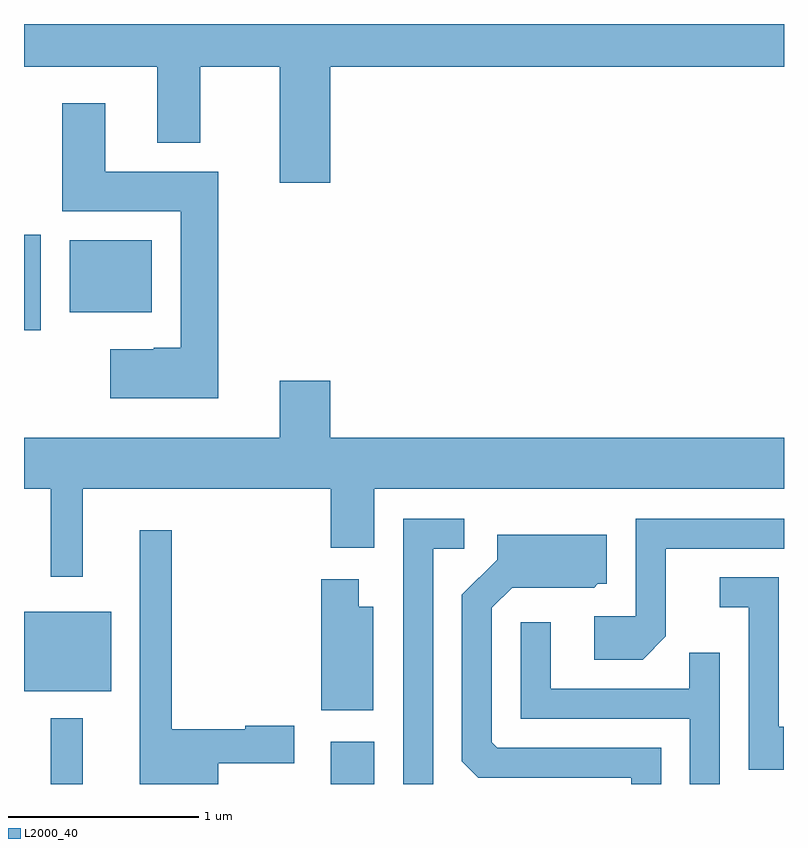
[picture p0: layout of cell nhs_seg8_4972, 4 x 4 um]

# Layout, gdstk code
import gdstk
lib = gdstk.Library(unit=1e-6, precision=1e-09)
def R(c, l, rs):  # rectangles x0, y0, x1, y1
    for r in rs: c.add(gdstk.rectangle(r[:2], r[2:], *l))
def P(c, l, *ps):  # polygons
    for p in ps: c.add(gdstk.Polygon(p, *l))
L2000_40 = (2000, 40)

nhs_seg8_4972 = lib.new_cell('nhs_seg8_4972')
R(nhs_seg8_4972, L2000_40, [(333.751,1910.342,333.919,1910.688), (335.226,1910.342,335.454,1910.564), (333.611,1910.831,334.069,1911.249), (333.611,1912.731,333.699,1913.234), (333.851,1912.826,334.284,1913.204)])
P(nhs_seg8_4972, L2000_40, [(335.224,1914.116),(337.611,1914.116),(337.611,1914.342),(333.611,1914.342),(333.611,1914.116),(334.311,1914.116),(334.311,1913.716),(334.539,1913.716),(334.539,1914.116),(334.956,1914.116),(334.956,1913.506),(335.224,1913.506)],
  [(334.634,1913.564),(334.039,1913.564),(334.039,1913.924),(333.811,1913.924),(333.811,1913.356),(334.436,1913.356),(334.436,1912.639),(334.295,1912.639),(334.295,1912.629),(334.066,1912.629),(334.066,1912.371),(334.634,1912.371)],
  [(333.919,1911.896),(335.226,1911.896),(335.226,1911.586),(335.454,1911.586),(335.454,1911.896),(337.611,1911.896),(337.611,1912.164),(335.224,1912.164),(335.224,1912.464),(334.956,1912.464),(334.956,1912.164),(333.611,1912.164),(333.611,1911.896),(333.751,1911.896),(333.751,1911.433),(333.919,1911.433)],
  [(336.989,1911.119),(336.989,1911.581),(337.611,1911.581),(337.611,1911.739),(336.831,1911.739),(336.831,1911.224),(336.611,1911.224),(336.611,1910.996),(336.867,1910.996)],
  [(335.764,1911.581),(335.928,1911.581),(335.928,1911.739),(335.606,1911.739),(335.606,1910.342),(335.764,1910.342)],
  [(334.634,1910.451),(335.034,1910.451),(335.034,1910.649),(334.776,1910.649),(334.776,1910.629),(334.389,1910.629),(334.389,1911.678),(334.221,1911.678),(334.221,1910.342),(334.634,1910.342)],
  [(336.964,1910.534),(336.102,1910.534),(336.074,1910.562),(336.074,1911.269),(336.182,1911.376),(336.612,1911.376),(336.632,1911.396),(336.679,1911.396),(336.679,1911.654),(336.101,1911.654),(336.101,1911.522),(335.916,1911.337),(335.916,1910.462),(336.002,1910.376),(336.806,1910.376),(336.806,1910.342),(336.964,1910.342)],
  [(337.609,1910.644),(337.584,1910.644),(337.584,1911.429),(337.273,1911.429),(337.273,1911.271),(337.426,1911.271),(337.426,1910.416),(337.609,1910.416)],
  [(335.449,1911.274),(335.374,1911.274),(335.374,1911.419),(335.176,1911.419),(335.176,1910.731),(335.449,1910.731)],
  [(337.274,1911.033),(337.111,1911.033),(337.111,1910.844),(336.384,1910.844),(336.384,1911.193),(336.226,1911.193),(336.226,1910.686),(337.116,1910.686),(337.116,1910.342),(337.274,1910.342)])

lib.write_gds('nhs_seg8_4972.gds')
